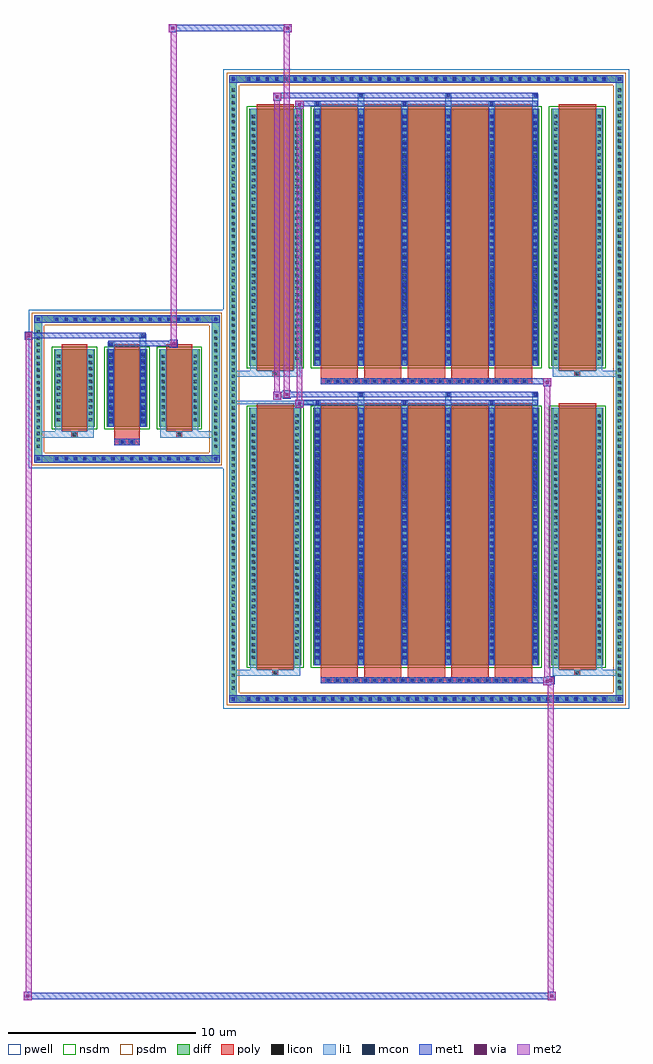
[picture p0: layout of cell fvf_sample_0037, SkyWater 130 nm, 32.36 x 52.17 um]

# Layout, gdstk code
import gdstk
lib = gdstk.Library(unit=1e-6, precision=1e-09)
def R(c, l, rs):  # rectangles x0, y0, x1, y1
    for r in rs: c.add(gdstk.rectangle(r[:2], r[2:], *l))
def A(c, l, x, y, w, h, nx, ny, dx, dy):  # array of equal rectangles
    R(c, l, [(x+i*dx, y+j*dy, x+i*dx+w, y+j*dy+h) for i in range(nx) for j in range(ny)])
def P(c, l, *ps):  # polygons
    for p in ps: c.add(gdstk.Polygon(p, *l))
pwell = (64, 44)
diff = (65, 20)
poly = (66, 20)
licon = (66, 44)
li1 = (67, 20)
mcon = (67, 44)
met1 = (68, 20)
via = (68, 44)
met2 = (69, 20)
nsdm = (93, 44)
psdm = (94, 20)

fvf_sample_0037 = lib.new_cell('fvf_sample_0037')
R(fvf_sample_0037, pwell, [(5.16,-17.089,26.846,17.089), (-5.26,-4.249,5.26,4.249)])
A(fvf_sample_0037, diff, 6.298, -16.779, 0.41, 0.41, 39, 2, 0.5, 33.148)
A(fvf_sample_0037, diff, 5.47, -16.185, 0.41, 0.41, 1, 95, 0, 0.34)
A(fvf_sample_0037, diff, 26.126, -16.185, 0.41, 0.41, 1, 95, 0, 0.34)
A(fvf_sample_0037, diff, -3.955, -3.939, 0.41, 0.41, 16, 2, 0.5, 7.468)
A(fvf_sample_0037, diff, -4.95, -3.265, 0.41, 0.41, 1, 19, 0, 0.34)
A(fvf_sample_0037, diff, 4.54, -3.265, 0.41, 0.41, 1, 19, 0, 0.34)
A(fvf_sample_0037, diff, -3.88, -2.018, 2.16, 4.152, 3, 1, 2.8, 0)
R(fvf_sample_0037, diff, [(6.298,-16.779,25.708,-16.369), (5.47,-16.185,5.88,16.185), (26.126,-16.185,26.536,16.185), (6.54,-14.758,9.318,-1.014), (9.958,-14.758,22.048,-1.014), (22.688,-14.758,25.466,-1.014), (-3.955,-3.939,3.955,-3.529), (-4.95,-3.265,-4.54,3.265), (4.54,-3.265,4.95,3.265), (6.54,1.23,9.318,14.974), (9.958,1.23,22.048,14.974), (22.688,1.23,25.466,14.974), (-3.955,3.529,3.955,3.939), (6.298,16.369,25.708,16.779)])
P(fvf_sample_0037, diff, [(4.95,3.939),(-4.95,3.939),(-4.95,-3.529),(-4.54,-3.529),(-4.54,3.529),(4.54,3.529),(4.54,-3.529),(-4.54,-3.529),(-4.95,-3.529),(-4.95,-3.939),(4.95,-3.939)],
  [(26.536,16.779),(5.47,16.779),(5.47,-16.369),(5.88,-16.369),(5.88,16.369),(26.126,16.369),(26.126,-16.369),(5.88,-16.369),(5.47,-16.369),(5.47,-16.779),(26.536,-16.779)])
A(fvf_sample_0037, poly, 10.588, -15.738, 0.33, 0.33, 22, 2, 0.5, 15.988)
A(fvf_sample_0037, poly, 10.348, -15.408, 1.998, 0.4, 5, 2, 2.328, 15.988)
A(fvf_sample_0037, poly, 10.348, -15.008, 1.998, 14.244, 5, 2, 2.328, 15.988)
A(fvf_sample_0037, poly, -3.49, -2.268, 1.38, 4.652, 3, 1, 2.8, 0)
R(fvf_sample_0037, poly, [(10.348,-15.738,21.658,-15.408), (7.764,-15.338,8.094,-15.008), (7.764,-15.338,8.094,-15.008), (23.912,-15.338,24.242,-15.008), (23.912,-15.338,24.242,-15.008), (6.93,-15.008,8.928,-0.764), (23.078,-15.008,25.076,-0.764), (-0.69,-2.998,0.69,-2.668), (-0.415,-2.998,-0.085,-2.668), (0.085,-2.998,0.415,-2.668), (-0.69,-2.668,0.69,-2.268), (-2.965,-2.598,-2.635,-2.268), (-2.965,-2.598,-2.635,-2.268), (2.635,-2.598,2.965,-2.268), (2.635,-2.598,2.965,-2.268), (10.348,0.25,21.658,0.58), (7.764,0.65,8.094,0.98), (7.764,0.65,8.094,0.98), (23.912,0.65,24.242,0.98), (23.912,0.65,24.242,0.98), (6.93,0.98,8.928,15.224), (23.078,0.98,25.076,15.224)])
A(fvf_sample_0037, licon, 6.418, -16.659, 0.17, 0.17, 39, 2, 0.5, 33.148)
A(fvf_sample_0037, licon, 5.59, -16.065, 0.17, 0.17, 1, 95, 0, 0.34)
A(fvf_sample_0037, licon, 26.246, -16.065, 0.17, 0.17, 1, 95, 0, 0.34)
A(fvf_sample_0037, licon, 10.668, -15.658, 0.17, 0.17, 22, 2, 0.5, 15.988)
A(fvf_sample_0037, licon, 6.68, -14.431, 0.17, 0.17, 1, 39, 0, 0.34)
A(fvf_sample_0037, licon, 9.008, -14.431, 0.17, 0.17, 1, 39, 0, 0.34)
A(fvf_sample_0037, licon, 10.098, -14.431, 0.17, 0.17, 6, 39, 2.328, 0.34)
A(fvf_sample_0037, licon, 22.828, -14.431, 0.17, 0.17, 1, 39, 0, 0.34)
A(fvf_sample_0037, licon, 25.156, -14.431, 0.17, 0.17, 1, 39, 0, 0.34)
A(fvf_sample_0037, licon, -3.835, -3.819, 0.17, 0.17, 16, 2, 0.5, 7.468)
A(fvf_sample_0037, licon, -4.83, -3.145, 0.17, 0.17, 1, 19, 0, 0.34)
A(fvf_sample_0037, licon, 4.66, -3.145, 0.17, 0.17, 1, 19, 0, 0.34)
A(fvf_sample_0037, licon, -3.74, -1.727, 0.17, 0.17, 1, 11, 0, 0.34)
A(fvf_sample_0037, licon, -2.03, -1.727, 0.17, 0.17, 1, 11, 0, 0.34)
A(fvf_sample_0037, licon, -0.94, -1.727, 0.17, 0.17, 1, 11, 0, 0.34)
A(fvf_sample_0037, licon, 0.77, -1.727, 0.17, 0.17, 1, 11, 0, 0.34)
A(fvf_sample_0037, licon, 1.86, -1.727, 0.17, 0.17, 1, 11, 0, 0.34)
A(fvf_sample_0037, licon, 3.57, -1.727, 0.17, 0.17, 1, 11, 0, 0.34)
A(fvf_sample_0037, licon, 6.68, 1.557, 0.17, 0.17, 1, 39, 0, 0.34)
A(fvf_sample_0037, licon, 9.008, 1.557, 0.17, 0.17, 1, 39, 0, 0.34)
A(fvf_sample_0037, licon, 10.098, 1.557, 0.17, 0.17, 6, 39, 2.328, 0.34)
A(fvf_sample_0037, licon, 22.828, 1.557, 0.17, 0.17, 1, 39, 0, 0.34)
A(fvf_sample_0037, licon, 25.156, 1.557, 0.17, 0.17, 1, 39, 0, 0.34)
R(fvf_sample_0037, licon, [(7.844,-15.258,8.014,-15.088), (23.992,-15.258,24.162,-15.088), (-0.335,-2.918,-0.165,-2.748), (0.165,-2.918,0.335,-2.748), (-2.885,-2.518,-2.715,-2.348), (2.715,-2.518,2.885,-2.348), (7.844,0.73,8.014,0.9), (23.992,0.73,24.162,0.9)])
A(fvf_sample_0037, li1, 6.338, -16.739, 0.33, 0.33, 39, 2, 0.5, 33.148)
A(fvf_sample_0037, li1, 5.51, -16.145, 0.33, 0.33, 1, 95, 0, 0.34)
A(fvf_sample_0037, li1, 26.166, -16.145, 0.33, 0.33, 1, 95, 0, 0.34)
A(fvf_sample_0037, li1, 10.588, -15.738, 0.33, 0.33, 22, 2, 0.5, 15.988)
A(fvf_sample_0037, li1, 10.018, -14.758, 0.33, 13.744, 6, 2, 2.328, 15.988)
A(fvf_sample_0037, li1, 6.6, -14.511, 0.33, 0.33, 1, 39, 0, 0.34)
A(fvf_sample_0037, li1, 8.928, -14.511, 0.33, 0.33, 1, 39, 0, 0.34)
A(fvf_sample_0037, li1, 10.018, -14.511, 0.33, 0.33, 6, 39, 2.328, 0.34)
A(fvf_sample_0037, li1, 22.748, -14.511, 0.33, 0.33, 1, 39, 0, 0.34)
A(fvf_sample_0037, li1, 25.076, -14.511, 0.33, 0.33, 1, 39, 0, 0.34)
A(fvf_sample_0037, li1, 10.098, -14.451, 0.17, 0.17, 6, 37, 2.328, 0.36)
A(fvf_sample_0037, li1, 10.098, -14.451, 0.17, 13.13, 6, 2, 2.328, 15.988)
A(fvf_sample_0037, li1, -3.915, -3.899, 0.33, 0.33, 16, 2, 0.5, 7.468)
A(fvf_sample_0037, li1, -4.91, -3.225, 0.33, 0.33, 1, 19, 0, 0.34)
A(fvf_sample_0037, li1, 4.58, -3.225, 0.33, 0.33, 1, 19, 0, 0.34)
A(fvf_sample_0037, li1, -0.94, -1.827, 0.17, 0.17, 1, 11, 0, 0.36)
A(fvf_sample_0037, li1, 0.77, -1.827, 0.17, 0.17, 1, 11, 0, 0.36)
A(fvf_sample_0037, li1, -3.82, -1.807, 0.33, 0.33, 1, 11, 0, 0.34)
A(fvf_sample_0037, li1, -2.11, -1.807, 0.33, 0.33, 1, 11, 0, 0.34)
A(fvf_sample_0037, li1, -1.02, -1.807, 0.33, 0.33, 1, 11, 0, 0.34)
A(fvf_sample_0037, li1, 0.69, -1.807, 0.33, 0.33, 1, 11, 0, 0.34)
A(fvf_sample_0037, li1, 1.78, -1.807, 0.33, 0.33, 1, 11, 0, 0.34)
A(fvf_sample_0037, li1, 3.49, -1.807, 0.33, 0.33, 1, 11, 0, 0.34)
A(fvf_sample_0037, li1, 10.018, -1.014, 0.33, 0.375, 3, 2, 4.656, 15.988)
A(fvf_sample_0037, li1, 12.346, -1.014, 0.33, 0.805, 3, 2, 4.656, 15.988)
A(fvf_sample_0037, li1, 10.098, -0.809, 0.17, 0.17, 3, 2, 4.656, 15.988)
A(fvf_sample_0037, li1, 12.426, -0.379, 0.17, 0.17, 3, 2, 4.656, 15.988)
A(fvf_sample_0037, li1, 6.6, 1.477, 0.33, 0.33, 1, 39, 0, 0.34)
A(fvf_sample_0037, li1, 8.928, 1.477, 0.33, 0.33, 1, 39, 0, 0.34)
A(fvf_sample_0037, li1, 10.018, 1.477, 0.33, 0.33, 6, 39, 2.328, 0.34)
A(fvf_sample_0037, li1, 22.748, 1.477, 0.33, 0.33, 1, 39, 0, 0.34)
A(fvf_sample_0037, li1, 25.076, 1.477, 0.33, 0.33, 1, 39, 0, 0.34)
A(fvf_sample_0037, li1, 10.098, 1.537, 0.17, 0.17, 6, 37, 2.328, 0.36)
R(fvf_sample_0037, li1, [(5.47,-16.779,5.88,-16.369), (26.126,-16.779,26.536,-16.369), (6.338,-16.739,25.668,-16.409), (5.59,-16.659,5.76,-16.489), (5.59,-16.659,5.76,-16.489), (26.246,-16.659,26.416,-16.489), (26.246,-16.659,26.416,-16.489), (5.47,-16.369,5.88,16.369), (26.126,-16.369,26.536,16.369), (5.47,-15.338,7.764,-15.008), (6.6,-15.338,6.93,-14.758), (6.6,-15.338,7.764,-15.008), (7.764,-15.338,8.094,-15.008), (8.094,-15.338,9.258,-15.008), (8.928,-15.338,9.258,-14.758), (22.748,-15.338,23.078,-14.758), (22.748,-15.338,23.912,-15.008), (23.912,-15.338,24.242,-15.008), (23.912,-15.338,26.536,-15.008), (24.242,-15.338,25.406,-15.008), (25.076,-15.338,25.406,-14.758), (6.6,-14.758,6.93,-1.014), (8.928,-14.758,9.258,-1.014), (22.748,-14.758,23.078,-1.014), (25.076,-14.758,25.406,-1.014), (-4.95,-3.939,-4.54,-3.529), (4.54,-3.939,4.95,-3.529), (-3.915,-3.899,3.915,-3.569), (-4.83,-3.819,-4.66,-3.649), (-4.83,-3.819,-4.66,-3.649), (4.66,-3.819,4.83,-3.649), (4.66,-3.819,4.83,-3.649), (-4.95,-3.529,-4.54,3.529), (4.54,-3.529,4.95,3.529), (-0.415,-2.998,-0.085,-2.668), (0.085,-2.998,0.415,-2.668), (-4.95,-2.598,-2.965,-2.268), (-3.82,-2.598,-2.965,-2.268), (-3.82,-2.598,-3.49,-2.018), (-2.965,-2.598,-2.635,-2.268), (-2.635,-2.598,-1.78,-2.268), (-2.11,-2.598,-1.78,-2.018), (1.78,-2.598,2.635,-2.268), (1.78,-2.598,2.11,-2.018), (2.635,-2.598,2.965,-2.268), (2.635,-2.598,4.95,-2.268), (2.965,-2.598,3.82,-2.268), (3.49,-2.598,3.82,-2.018), (-3.82,-2.018,-3.49,2.134), (-2.11,-2.018,-1.78,2.134), (-1.02,-2.018,-0.69,2.134), (0.69,-2.018,1.02,2.134), (1.78,-2.018,2.11,2.134), (3.49,-2.018,3.82,2.134), (-0.94,-1.827,-0.77,1.943), (0.77,-1.827,0.94,1.943), (10.038,-0.869,10.328,-0.579), (5.47,-0.824,10.038,-0.624), (10.098,-0.809,10.268,-0.639), (5.47,0.65,7.764,0.98), (6.6,0.65,6.93,1.23), (6.6,0.65,7.764,0.98), (7.764,0.65,8.094,0.98), (8.094,0.65,9.258,0.98), (8.928,0.65,9.258,1.23), (22.748,0.65,23.078,1.23), (22.748,0.65,23.912,0.98), (23.912,0.65,24.242,0.98), (23.912,0.65,26.536,0.98), (24.242,0.65,25.406,0.98), (25.076,0.65,25.406,1.23), (6.6,1.23,6.93,14.974), (8.928,1.23,9.258,14.974), (22.748,1.23,23.078,14.974), (25.076,1.23,25.406,14.974), (-1.02,2.134,-0.69,2.509), (0.69,2.134,1.02,2.939), (-0.94,2.339,-0.77,2.509), (0.77,2.769,0.94,2.939), (-4.95,3.529,-4.54,3.939), (4.54,3.529,4.95,3.939), (-3.915,3.569,3.915,3.899), (-4.83,3.649,-4.66,3.819), (-4.83,3.649,-4.66,3.819), (4.66,3.649,4.83,3.819), (4.66,3.649,4.83,3.819), (5.47,16.369,5.88,16.779), (26.126,16.369,26.536,16.779), (6.338,16.409,25.668,16.739), (5.59,16.489,5.76,16.659), (5.59,16.489,5.76,16.659), (26.246,16.489,26.416,16.659), (26.246,16.489,26.416,16.659)])
A(fvf_sample_0037, mcon, 6.418, -16.659, 0.17, 0.17, 39, 2, 0.5, 33.148)
A(fvf_sample_0037, mcon, 10.668, -15.658, 0.17, 0.17, 22, 2, 0.5, 15.988)
A(fvf_sample_0037, mcon, 10.098, -14.451, 0.17, 0.17, 6, 37, 2.328, 0.36)
A(fvf_sample_0037, mcon, -3.835, -3.819, 0.17, 0.17, 16, 2, 0.5, 7.468)
A(fvf_sample_0037, mcon, -0.94, -1.827, 0.17, 0.17, 1, 11, 0, 0.36)
A(fvf_sample_0037, mcon, 0.77, -1.827, 0.17, 0.17, 1, 11, 0, 0.36)
A(fvf_sample_0037, mcon, 10.098, -0.809, 0.17, 0.17, 3, 2, 4.656, 15.988)
A(fvf_sample_0037, mcon, 12.426, -0.379, 0.17, 0.17, 3, 2, 4.656, 15.988)
A(fvf_sample_0037, mcon, 10.098, 1.537, 0.17, 0.17, 6, 37, 2.328, 0.36)
R(fvf_sample_0037, mcon, [(5.59,-16.659,5.76,-16.489), (26.246,-16.659,26.416,-16.489), (-4.83,-3.819,-4.66,-3.649), (4.66,-3.819,4.83,-3.649), (-0.335,-2.918,-0.165,-2.748), (0.165,-2.918,0.335,-2.748), (10.098,-0.809,10.268,-0.639), (-0.94,2.339,-0.77,2.509), (0.77,2.769,0.94,2.939), (-4.83,3.649,-4.66,3.819), (4.66,3.649,4.83,3.819), (5.59,16.489,5.76,16.659), (26.246,16.489,26.416,16.659)])
A(fvf_sample_0037, met1, 6.358, -16.719, 0.29, 0.29, 39, 2, 0.5, 33.148)
A(fvf_sample_0037, met1, 10.608, -15.718, 0.29, 0.29, 22, 2, 0.5, 15.988)
A(fvf_sample_0037, met1, 10.038, -14.758, 0.29, 13.744, 6, 2, 2.328, 15.988)
A(fvf_sample_0037, met1, 10.038, -14.511, 0.29, 0.29, 6, 37, 2.328, 0.36)
A(fvf_sample_0037, met1, -3.895, -3.879, 0.29, 0.29, 16, 2, 0.5, 7.468)
A(fvf_sample_0037, met1, -1, -1.887, 0.29, 0.29, 1, 11, 0, 0.36)
A(fvf_sample_0037, met1, 0.71, -1.887, 0.29, 0.29, 1, 11, 0, 0.36)
A(fvf_sample_0037, met1, 10.038, -0.869, 0.29, 0.29, 3, 2, 4.656, 15.988)
A(fvf_sample_0037, met1, 12.366, -0.439, 0.29, 0.29, 3, 2, 4.656, 15.988)
A(fvf_sample_0037, met1, 10.038, 1.477, 0.29, 0.29, 6, 37, 2.328, 0.36)
R(fvf_sample_0037, met1, [(-5.514,-32.658,-5.084,-32.228), (22.493,-32.658,22.923,-32.228), (-5.514,-32.608,22.923,-32.278), (-5.514,-32.278,-5.084,-32.228), (22.493,-32.278,22.923,-32.228), (5.47,-16.779,5.88,-16.369), (5.47,-16.779,5.88,-16.369), (5.88,-16.779,26.126,-16.369), (26.126,-16.779,26.536,-16.369), (26.126,-16.779,26.536,-16.369), (5.53,-16.719,5.82,-16.429), (26.186,-16.719,26.476,-16.429), (22.258,-15.838,22.688,-15.408), (22.443,-15.788,22.873,-15.358), (10.348,-15.738,21.658,-15.408), (21.658,-15.738,22.443,-15.408), (21.658,-15.738,22.688,-15.408), (-4.95,-3.939,-4.54,-3.529), (-4.95,-3.939,-4.54,-3.529), (-4.54,-3.939,4.54,-3.529), (4.54,-3.939,4.95,-3.529), (4.54,-3.939,4.95,-3.529), (-4.89,-3.879,-4.6,-3.589), (4.6,-3.879,4.89,-3.589), (-0.69,-2.998,0.69,-2.668), (-0.395,-2.978,-0.105,-2.688), (0.105,-2.978,0.395,-2.688), (-1,-2.018,-0.71,2.134), (0.71,-2.018,1,2.134), (9.008,-1.009,9.438,-0.579), (9.008,-0.869,10.038,-0.579), (10.038,-0.869,10.328,-0.579), (10.038,-0.869,21.968,-0.579), (7.808,-0.579,8.238,-0.149), (8.323,-0.509,8.753,-0.079), (7.808,-0.439,10.038,-0.149), (8.753,-0.439,10.038,-0.149), (10.038,-0.439,21.968,-0.149), (22.258,0.15,22.688,0.58), (10.348,0.25,21.658,0.58), (21.658,0.25,22.688,0.58), (2.285,2.209,2.715,2.639), (-1,2.279,-0.71,2.569), (-1,2.279,1,2.569), (1,2.279,2.285,2.569), (-5.464,2.639,-5.034,3.069), (-5.034,2.709,-1,2.999), (-1,2.709,1,2.999), (0.71,2.709,1,2.999), (-4.95,3.529,-4.54,3.939), (-4.95,3.529,-4.54,3.939), (-4.54,3.529,4.54,3.939), (4.54,3.529,4.95,3.939), (4.54,3.529,4.95,3.939), (-4.89,3.589,-4.6,3.879), (4.6,3.589,4.89,3.879), (9.008,14.979,9.438,15.409), (9.008,15.119,10.038,15.409), (10.038,15.119,21.968,15.409), (7.808,15.409,8.238,15.839), (7.808,15.549,10.038,15.839), (10.038,15.549,21.968,15.839), (5.47,16.369,5.88,16.779), (5.47,16.369,5.88,16.779), (5.88,16.369,26.126,16.779), (26.126,16.369,26.536,16.779), (26.126,16.369,26.536,16.779), (5.53,16.429,5.82,16.719), (26.186,16.429,26.476,16.719), (2.235,19.079,2.665,19.509), (8.373,19.079,8.803,19.509), (2.235,19.129,8.803,19.459), (2.235,19.459,2.665,19.509), (8.373,19.459,8.803,19.509)])
R(fvf_sample_0037, via, [(-5.374,-32.518,-5.224,-32.368), (22.633,-32.518,22.783,-32.368), (22.398,-15.698,22.548,-15.548), (22.583,-15.648,22.733,-15.498), (9.148,-0.869,9.298,-0.719), (7.948,-0.439,8.098,-0.289), (8.463,-0.369,8.613,-0.219), (22.398,0.29,22.548,0.44), (2.425,2.349,2.575,2.499), (-5.324,2.779,-5.174,2.929), (9.148,15.119,9.298,15.269), (7.948,15.549,8.098,15.699), (2.375,19.219,2.525,19.369), (8.513,19.219,8.663,19.369)])
R(fvf_sample_0037, met2, [(-5.514,-32.658,-5.084,-32.228), (-5.414,-32.658,-5.084,2.689), (22.493,-32.658,22.923,-32.228), (22.493,-32.658,22.823,-15.738), (-5.464,-32.608,-5.134,-32.278), (22.543,-32.608,22.873,-32.278), (22.258,-15.838,22.688,-15.408), (22.308,-15.838,22.638,0.58), (22.638,-15.838,22.688,-15.408), (22.308,-15.788,22.638,-15.458), (22.493,-15.738,22.823,-15.408), (9.008,-1.009,9.438,-0.579), (9.078,-1.009,9.368,15.409), (9.368,-1.009,9.438,-0.579), (9.058,-0.959,9.388,-0.629), (7.808,-0.579,8.238,-0.149), (7.878,-0.579,8.168,15.839), (8.168,-0.579,8.238,-0.149), (7.858,-0.529,8.188,-0.199), (8.373,-0.459,8.703,-0.129), (8.373,-0.129,8.703,19.509), (22.258,0.15,22.688,0.58), (22.638,0.15,22.688,0.58), (22.308,0.2,22.638,0.53), (2.335,2.259,2.665,2.589), (2.335,2.589,2.665,19.509), (-5.414,2.689,-5.084,3.019), (9.008,14.979,9.438,15.409), (9.368,14.979,9.438,15.409), (9.058,15.029,9.388,15.359), (7.808,15.409,8.238,15.839), (8.168,15.409,8.238,15.839), (7.858,15.459,8.188,15.789), (2.235,19.079,2.665,19.509), (8.373,19.079,8.803,19.509), (2.285,19.129,2.615,19.459), (8.423,19.129,8.753,19.459)])
A(fvf_sample_0037, nsdm, -4.01, -2.148, 2.42, 4.412, 3, 1, 2.8, 0)
R(fvf_sample_0037, nsdm, [(6.41,-14.888,9.448,-0.884), (9.828,-14.888,22.178,-0.884), (22.558,-14.888,25.596,-0.884), (6.41,1.1,9.448,15.104), (9.828,1.1,22.178,15.104), (22.558,1.1,25.596,15.104)])
P(fvf_sample_0037, psdm, [(5.08,4.069),(-5.08,4.069),(-5.08,-3.399),(-4.41,-3.399),(-4.41,3.399),(4.41,3.399),(4.41,-3.399),(-4.41,-3.399),(-5.08,-3.399),(-5.08,-4.069),(5.08,-4.069)],
  [(26.666,16.909),(5.34,16.909),(5.34,-16.239),(6.01,-16.239),(6.01,16.239),(25.996,16.239),(25.996,-16.239),(6.01,-16.239),(5.34,-16.239),(5.34,-16.909),(26.666,-16.909)])

lib.write_gds('fvf_sample_0037.gds')
